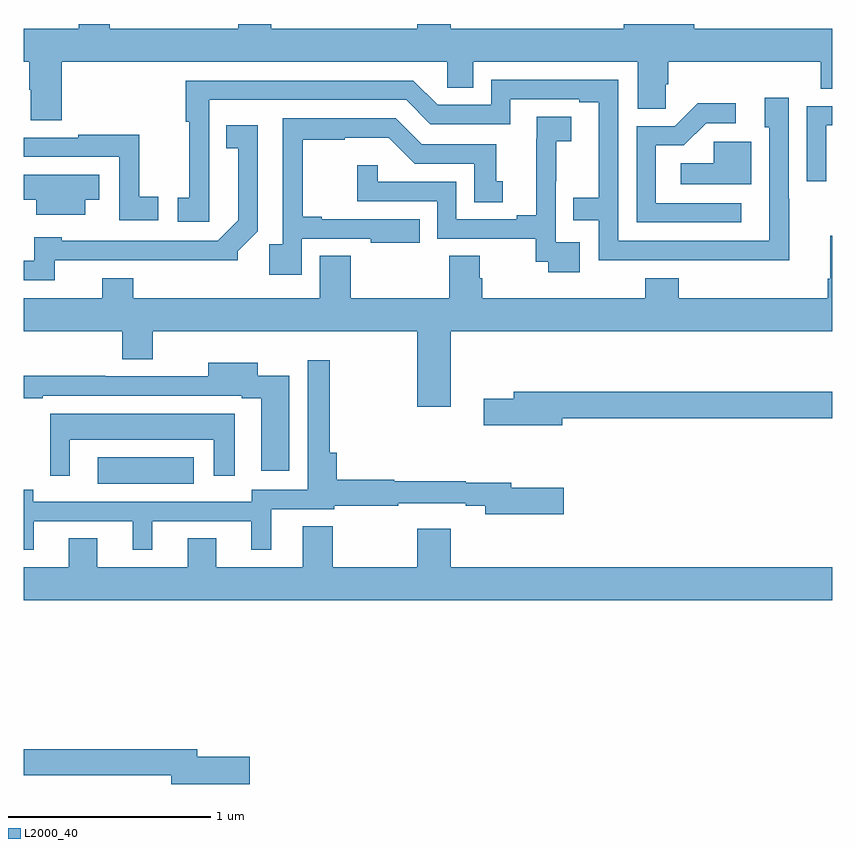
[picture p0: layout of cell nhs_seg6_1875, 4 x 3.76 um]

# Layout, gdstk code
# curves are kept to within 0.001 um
import gdstk
lib = gdstk.Library(unit=1e-6, precision=1e-09)
def R(c, l, rs):  # rectangles x0, y0, x1, y1
    for r in rs: c.add(gdstk.rectangle(r[:2], r[2:], *l))
def P(c, l, *ps):  # polygons
    for p in ps: c.add(gdstk.Polygon(p, *l))
L2000_40 = (2000, 40)

nhs_seg6_1875 = lib.new_cell('nhs_seg6_1875')
R(nhs_seg6_1875, L2000_40, [(223.365,969.224,223.84,969.355)])
P(nhs_seg6_1875, L2000_40, [(223.187,971.312),(225.096,971.312),(225.096,971.185),(225.223,971.185),(225.223,971.312),(226.037,971.312),(226.037,971.08),(226.176,971.08),(226.176,971.203),(226.19,971.203),(226.19,971.312),(226.943,971.312),(226.943,971.179),(227,971.179),(227,971.476),(226.318,971.476),(226.318,971.5),(225.968,971.5),(225.968,971.476),(225.112,971.476),(225.112,971.5),(224.948,971.5),(224.948,971.476),(224.224,971.476),(224.224,971.5),(224.06,971.5),(224.06,971.476),(223.424,971.476),(223.424,971.5),(223.271,971.5),(223.271,971.476),(223,971.476),(223,971.312),(223.027,971.312),(223.027,971.174),(223.034,971.174),(223.034,971.023),(223.187,971.023)],
  [(226.787,970.634),(226.785,970.634),(226.785,971.134),(226.667,971.134),(226.667,970.989),(226.689,970.989),(226.689,970.428),(225.942,970.428),(225.942,971.223),(225.312,971.223),(225.312,971.1),(225.048,971.1),(224.928,971.22),(223.801,971.22),(223.801,971.017),(223.819,971.017),(223.819,970.641),(223.761,970.641),(223.761,970.521),(223.918,970.521),(223.917,971.124),(224.892,971.124),(225.012,971.004),(225.408,971.004),(225.408,971.127),(225.749,971.127),(225.749,971.112),(225.845,971.112),(225.845,970.639),(225.718,970.639),(225.718,970.53),(225.846,970.53),(225.846,970.332),(226.787,970.331)],
  [(226.549,970.614),(226.128,970.614),(226.128,970.899),(226.266,970.899),(226.377,971.01),(226.522,971.01),(226.522,971.108),(226.334,971.108),(226.221,970.995),(226.032,970.995),(226.032,970.518),(226.549,970.518)],
  [(226.971,970.998),(227,970.998),(227,971.094),(226.875,971.094),(226.875,970.722),(226.971,970.722)],
  [(225.751,970.419),(225.633,970.419),(225.633,970.723),(225.635,970.723),(225.635,970.921),(225.709,970.921),(225.709,971.042),(225.538,971.042),(225.538,970.931),(225.536,970.931),(225.536,970.553),(225.44,970.553),(225.44,970.533),(225.141,970.533),(225.141,970.719),(224.751,970.719),(224.751,970.801),(224.65,970.801),(224.65,970.623),(225.045,970.623),(225.045,970.437),(225.532,970.437),(225.532,970.323),(225.595,970.323),(225.595,970.272),(225.751,970.272)],
  [(224.376,970.437),(224.717,970.437),(224.717,970.418),(224.96,970.418),(224.96,970.533),(224.473,970.533),(224.473,970.546),(224.381,970.546),(224.381,970.926),(224.588,970.926),(224.588,970.937),(224.806,970.937),(224.934,970.809),(225.23,970.809),(225.23,970.618),(225.37,970.618),(225.37,970.722),(225.337,970.722),(225.337,970.905),(224.97,970.905),(224.841,971.034),(224.28,971.034),(224.28,970.411),(224.215,970.411),(224.215,970.26),(224.376,970.26)],
  [(223.152,970.332),(224.058,970.331),(224.058,970.375),(224.157,970.474),(224.157,970.999),(224.002,970.999),(224.002,970.886),(224.06,970.886),(224.06,970.529),(223.959,970.428),(223.188,970.428),(223.188,970.444),(223.052,970.444),(223.052,970.329),(223,970.329),(223,970.233),(223.152,970.233)],
  [(223.666,970.646),(223.572,970.646),(223.572,970.951),(223.27,970.951),(223.27,970.938),(223,970.938),(223,970.842),(223.473,970.842),(223.473,970.53),(223.666,970.53)],
  [(226.6,970.917),(226.413,970.917),(226.413,970.81),(226.251,970.81),(226.251,970.706),(226.6,970.706)],
  [(223.303,970.631),(223.372,970.631),(223.372,970.753),(223,970.753),(223,970.631),(223.061,970.631),(223.061,970.556),(223.303,970.556)],
  [(225.112,969.98),(227,969.98),(227,970.452),(226.991,970.452),(226.991,970.24),(226.979,970.24),(226.979,970.144),(226.241,970.144),(226.241,970.243),(226.076,970.243),(226.076,970.144),(225.269,970.144),(225.269,970.242),(225.256,970.242),(225.256,970.352),(225.104,970.352),(225.104,970.144),(224.618,970.144),(224.618,970.352),(224.465,970.352),(224.465,970.144),(223.541,970.144),(223.541,970.243),(223.388,970.243),(223.388,970.144),(223,970.144),(223,969.98),(223.487,969.98),(223.487,969.841),(223.639,969.841),(223.639,969.98),(224.948,969.98),(224.948,969.606),(225.112,969.606)],
  [(223.048,969.039),(223.538,969.039),(223.538,968.898),(223.636,968.898),(223.636,969.039),(224.126,969.039),(224.126,968.898),(224.224,968.898),(224.224,969.099),(224.536,969.099),(224.536,969.117),(224.852,969.117),(224.852,969.129),(225.188,969.129),(225.188,969.117),(225.284,969.117),(225.284,969.074),(225.673,969.074),(225.673,969.204),(225.412,969.204),(225.412,969.23),(225.188,969.23),(225.188,969.238),(224.832,969.238),(224.832,969.245),(224.549,969.245),(224.549,969.379),(224.515,969.379),(224.515,969.835),(224.406,969.835),(224.406,969.195),(224.127,969.195),(224.127,969.135),(223.047,969.135),(223.047,969.195),(223,969.195),(223,968.898),(223.048,968.898)],
  [(224.314,969.759),(224.158,969.759),(224.158,969.823),(223.913,969.823),(223.913,969.756),(223.403,969.756),(223.403,969.759),(223,969.759),(223,969.648),(223.093,969.648),(223.093,969.66),(224.078,969.66),(224.078,969.648),(224.174,969.648),(224.174,969.288),(224.314,969.288)],
  [(225.664,969.55),(227,969.55),(227,969.679),(225.425,969.679),(225.425,969.645),(225.276,969.645),(225.276,969.515),(225.664,969.515)],
  [(223.228,969.443),(223.94,969.443),(223.94,969.264),(224.044,969.264),(224.044,969.571),(223.13,969.571),(223.13,969.264),(223.228,969.264)],
  [(227,968.812),(225.112,968.812),(225.112,969.001),(224.948,969.001),(224.948,968.812),(224.529,968.812),(224.529,969.014),(224.381,969.014),(224.381,968.812),(223.951,968.812),(223.951,968.954),(223.811,968.954),(223.811,968.812),(223.363,968.812),(223.363,968.954),(223.223,968.954),(223.223,968.812),(223,968.812),(223,968.648),(227,968.648)],
  [(224.119,967.874),(223.858,967.874),(223.858,967.91),(223,967.91),(223,967.782),(223.73,967.782),(223.73,967.739),(224.119,967.739)])

lib.write_gds('nhs_seg6_1875.gds')
